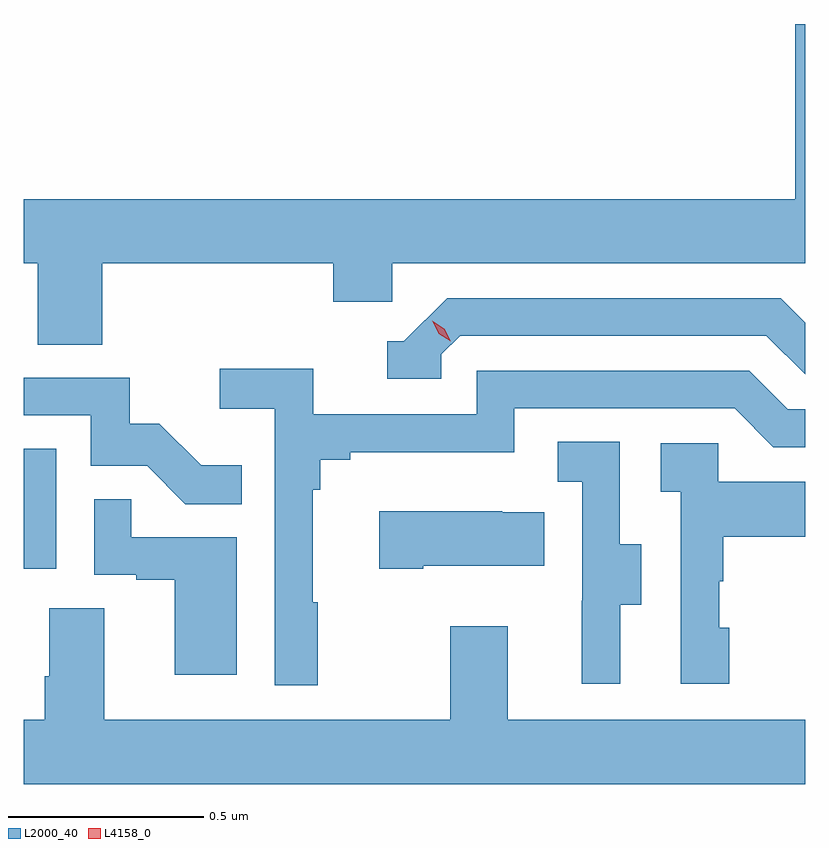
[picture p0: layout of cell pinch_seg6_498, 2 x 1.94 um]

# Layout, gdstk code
import gdstk
lib = gdstk.Library(unit=1e-6, precision=1e-09)
def R(c, l, rs):  # rectangles x0, y0, x1, y1
    for r in rs: c.add(gdstk.rectangle(r[:2], r[2:], *l))
def P(c, l, *ps):  # polygons
    for p in ps: c.add(gdstk.Polygon(p, *l))
L2000_40 = (2000, 40)
L4158_0 = (4158, 0)

pinch_seg6_498 = lib.new_cell('pinch_seg6_498')
R(pinch_seg6_498, L2000_40, [(880.463,918.582,880.546,918.889)])
P(pinch_seg6_498, L2000_40, [(880.664,919.364),(881.255,919.364),(881.255,919.266),(881.406,919.266),(881.406,919.364),(882.463,919.364),(882.463,919.976),(882.437,919.976),(882.437,919.528),(880.463,919.528),(880.463,919.364),(880.499,919.364),(880.499,919.156),(880.664,919.156)],
  [(881.532,919.131),(881.58,919.179),(882.363,919.179),(882.462,919.08),(882.463,919.08),(882.463,919.212),(882.4,919.275),(881.547,919.275),(881.436,919.164),(881.393,919.164),(881.393,919.068),(881.532,919.068)],
  [(881.215,918.497),(881.203,918.497),(881.203,918.785),(881.222,918.785),(881.222,918.862),(881.299,918.862),(881.299,918.881),(881.718,918.881),(881.718,918.993),(882.282,918.993),(882.381,918.894),(882.463,918.894),(882.463,918.99),(882.418,918.99),(882.319,919.089),(881.622,919.089),(881.622,918.978),(881.204,918.978),(881.204,919.094),(880.965,919.094),(880.965,918.992),(881.106,918.992),(881.106,918.285),(881.215,918.285)],
  [(881.021,918.847),(880.917,918.847),(880.81,918.954),(880.734,918.954),(880.734,919.071),(880.463,919.071),(880.463,918.975),(880.635,918.975),(880.635,918.846),(880.779,918.846),(880.877,918.748),(881.021,918.748)],
  [(881.989,918.49),(882.043,918.49),(882.043,918.645),(881.988,918.645),(881.988,918.908),(881.829,918.908),(881.829,918.805),(881.892,918.805),(881.892,918.501),(881.891,918.501),(881.891,918.288),(881.989,918.288)],
  [(882.268,918.432),(882.243,918.432),(882.243,918.551),(882.253,918.551),(882.253,918.665),(882.463,918.665),(882.463,918.805),(882.24,918.805),(882.24,918.903),(882.093,918.903),(882.093,918.779),(882.144,918.779),(882.144,918.288),(882.268,918.288)],
  [(881.008,918.663),(880.739,918.663),(880.739,918.761),(880.644,918.761),(880.644,918.567),(880.751,918.567),(880.751,918.555),(880.85,918.555),(880.85,918.312),(881.008,918.312)],
  [(881.485,918.59),(881.795,918.59),(881.795,918.727),(881.687,918.727),(881.687,918.73),(881.373,918.73),(881.373,918.583),(881.485,918.583)],
  [(882.463,918.196),(881.701,918.196),(881.701,918.436),(881.554,918.436),(881.554,918.196),(880.669,918.196),(880.669,918.482),(880.529,918.482),(880.529,918.308),(880.517,918.308),(880.517,918.196),(880.463,918.196),(880.463,918.032),(882.463,918.032)])
P(pinch_seg6_498, L4158_0, [(881.556,919.165),(881.525,919.184),(881.508,919.217),(881.508,919.217),(881.508,919.217),(881.539,919.197),(881.556,919.165),(881.556,919.165)])

lib.write_gds('pinch_seg6_498.gds')
